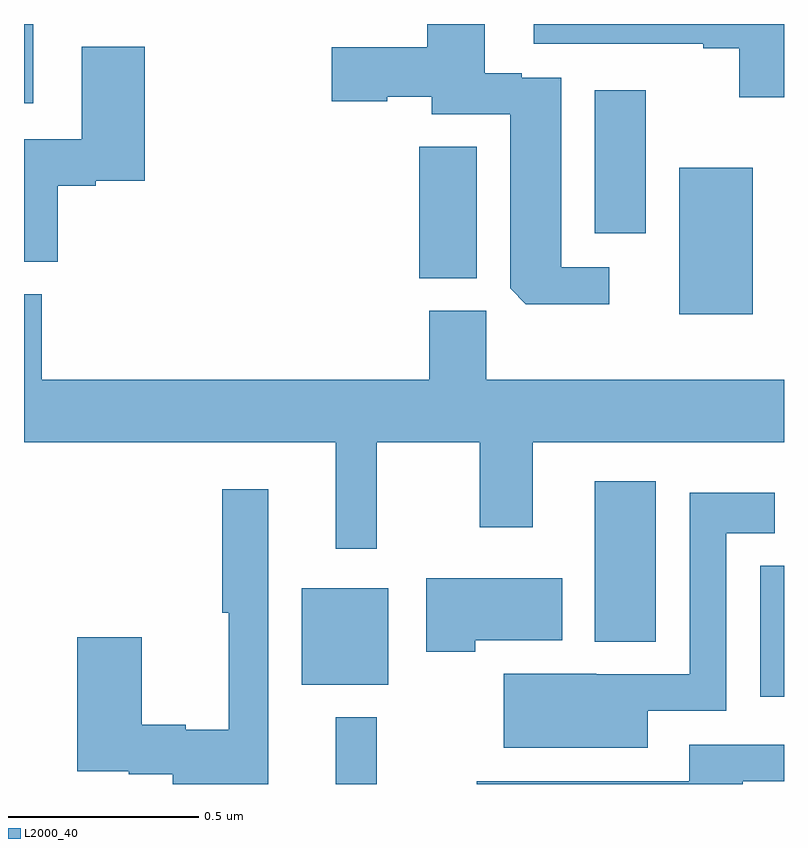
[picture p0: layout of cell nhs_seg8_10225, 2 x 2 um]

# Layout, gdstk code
import gdstk
lib = gdstk.Library(unit=1e-6, precision=1e-09)
def R(c, l, rs):  # rectangles x0, y0, x1, y1
    for r in rs: c.add(gdstk.rectangle(r[:2], r[2:], *l))
def P(c, l, *ps):  # polygons
    for p in ps: c.add(gdstk.Polygon(p, *l))
L2000_40 = (2000, 40)

nhs_seg8_10225 = lib.new_cell('nhs_seg8_10225')
R(nhs_seg8_10225, L2000_40, [(246.821,1148.9,246.928,1149.076), (247.937,1149.129,248,1149.475), (246.731,1149.161,246.958,1149.415), (247.502,1149.275,247.663,1149.697), (247.724,1150.136,247.918,1150.522), (247.04,1150.231,247.192,1150.577), (247.502,1150.35,247.636,1150.726), (246,1150.691,246.024,1150.9)])
P(nhs_seg8_10225, L2000_40, [(248,1150.9),(247.341,1150.9),(247.341,1150.848),(247.787,1150.848),(247.787,1150.836),(247.882,1150.836),(247.882,1150.707),(248,1150.707)],
  [(247.54,1150.26),(247.414,1150.26),(247.414,1150.758),(247.31,1150.758),(247.31,1150.771),(247.213,1150.771),(247.213,1150.9),(247.061,1150.9),(247.061,1150.839),(246.81,1150.839),(246.81,1150.697),(246.956,1150.697),(246.956,1150.709),(247.073,1150.709),(247.073,1150.662),(247.28,1150.662),(247.28,1150.204),(247.321,1150.163),(247.54,1150.163)],
  [(246.089,1150.475),(246.189,1150.475),(246.189,1150.487),(246.318,1150.487),(246.318,1150.84),(246.152,1150.84),(246.152,1150.597),(246,1150.597),(246,1150.274),(246.089,1150.274)],
  [(246.928,1149.8),(247.199,1149.8),(247.199,1149.576),(247.339,1149.576),(247.339,1149.8),(248,1149.8),(248,1149.964),(247.217,1149.964),(247.217,1150.146),(247.067,1150.146),(247.067,1149.964),(246.047,1149.964),(246.047,1150.189),(246,1150.189),(246,1149.8),(246.821,1149.8),(246.821,1149.519),(246.928,1149.519)],
  [(246.643,1149.676),(246.522,1149.676),(246.522,1149.351),(246.539,1149.351),(246.539,1149.043),(246.425,1149.043),(246.425,1149.056),(246.31,1149.056),(246.31,1149.286),(246.14,1149.286),(246.14,1148.933),(246.276,1148.933),(246.276,1148.926),(246.392,1148.926),(246.392,1148.9),(246.643,1148.9)],
  [(247.642,1149.093),(247.848,1149.093),(247.848,1149.56),(247.975,1149.56),(247.975,1149.667),(247.752,1149.667),(247.752,1149.189),(247.506,1149.189),(247.506,1149.19),(247.262,1149.19),(247.262,1148.996),(247.642,1148.996)],
  [(247.188,1149.278),(247.417,1149.278),(247.417,1149.442),(247.058,1149.442),(247.058,1149.248),(247.188,1149.248)],
  [(247.891,1148.907),(248,1148.907),(248,1149.003),(247.751,1149.003),(247.751,1148.907),(247.191,1148.907),(247.191,1148.9),(247.891,1148.9)])

lib.write_gds('nhs_seg8_10225.gds')
